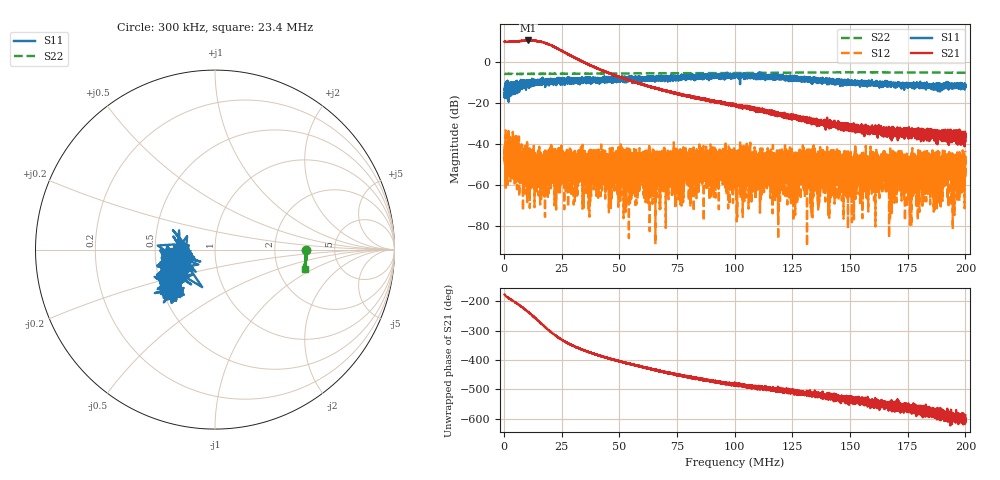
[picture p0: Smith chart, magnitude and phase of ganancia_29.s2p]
# Hz S DB R 50
! CMT, M5065, 19127446, 24.2.4/2
! Date: 11/8/2024 5:10:27 PM
! Data: Format (Calibration Info)
! Freq	S11:dB/Ang(F2)	S21:dB/Ang(F2)	S12:dB/Ang(F2)	S22:dB/Ang(F2)
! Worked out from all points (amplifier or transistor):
!   9000 points, 300 kHz to 200 MHz, reference 50 ohm
!   highest |S21| = 10.4 dB at 10.6 MHz (marker M1)
!   |S21| within 3 dB of that: start of sweep to 21.48 MHz (the widest 1 of 3)
!   unconditionally stable (mu >= 1): start of sweep to end of sweep
!   at 33.59 MHz: K = 135.24, MAG = 2.1 dB, |S12| = -52.6 dB
!   at 100.2 MHz: K = 1142.51, MAG = -18.9 dB, |S12| = -50.6 dB
!   at 200 MHz: K = 4124.22, MAG = -36.7 dB, |S12| = -43.5 dB
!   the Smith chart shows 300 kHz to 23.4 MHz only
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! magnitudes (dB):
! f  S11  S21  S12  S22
! 300 kHz  -15.2  9.7  -45.4  -5.9
! 10.6 MHz  -11.0  10.4  -47.6  -5.9
! 22.27 MHz  -9.4  7.0  -43.1  -5.8
! 24.33 MHz  -8.8  5.9  -48.8  -5.9
! 33.59 MHz  -9.8  0.3  -52.6  -5.8
! 66.87 MHz  -8.6  -13.2  -50.3  -5.5
! 69.05 MHz  -8.8  -13.8  -50.4  -5.5
! 71.07 MHz  -9.7  -14.4  -53.3  -5.5
! 94.17 MHz  -6.8  -19.8  -46.4  -5.4
! 100.2 MHz  -7.5  -21.2  -50.6  -5.4
! 102.2 MHz  -6.8  -21.4  -47.2  -5.4
! 103.5 MHz  -6.6  -21.4  -45.7  -5.4
! 118.4 MHz  -7.8  -25.3  -47.2  -5.3
! 122.4 MHz  -6.9  -26.3  -44.1  -5.3
! 125.3 MHz  -7.6  -26.2  -57.4  -5.3
! 127.9 MHz  -7.5  -26.9  -47.8  -5.2
! 133.4 MHz  -9.0  -28.6  -50.8  -5.2
! 166.7 MHz  -11.1  -34.3  -57.4  -5.1
! 179.4 MHz  -11.3  -35.2  -49.9  -5.2
! 181.6 MHz  -12.2  -34.4  -48.8  -5.2
! 198.8 MHz  -11.6  -38.2  -53.8  -5.3
! 200 MHz  -11.2  -38.6  -43.5  -5.3
